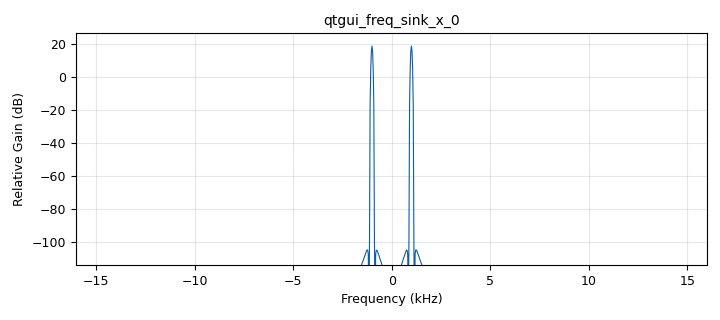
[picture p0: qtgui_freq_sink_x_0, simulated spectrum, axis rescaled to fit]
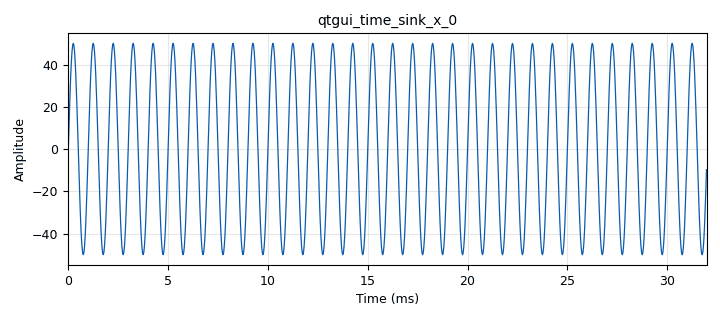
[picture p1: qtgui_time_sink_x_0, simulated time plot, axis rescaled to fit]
options:
  parameters:
    author: labcom
    generate_options: qt_gui
    id: PO
    output_language: python
    title: Not titled yet
  states: {}

blocks:
- name: AMP
  id: variable_qtgui_range
  parameters:
    label: Amplitud
    start: '0'
    step: '1'
    stop: '100'
    value: '50'
  states: {}
- name: samp_rate
  id: variable
  parameters:
    value: '32000'
  states: {}
- name: CalculoPotenciaComunicaciones_0
  id: CalculoPotenciaComunicaciones
  parameters:
    I_vect: '1024'
  states: {}
- name: analog_sig_source_x_0
  id: analog_sig_source_x
  parameters:
    amp: AMP
    freq: '1000'
    offset: '0'
    phase: '0'
    samp_rate: samp_rate
    type: float
    waveform: analog.GR_SIN_WAVE
  states: {}
- name: blocks_throttle_0
  id: blocks_throttle
  parameters:
    samples_per_second: samp_rate
    type: float
  states: {}
- name: qtgui_freq_sink_x_0
  id: qtgui_freq_sink_x
  parameters:
    bw: samp_rate
    fc: '0'
    fftsize: '1024'
    type: float
  states: {}
- name: qtgui_time_sink_x_0
  id: qtgui_time_sink_x
  parameters:
    size: '1024'
    srate: samp_rate
    type: float
  states: {}

connections:
- [analog_sig_source_x_0, '0', blocks_throttle_0, '0']
- [blocks_throttle_0, '0', CalculoPotenciaComunicaciones_0, '0']
- [blocks_throttle_0, '0', qtgui_freq_sink_x_0, '0']
- [blocks_throttle_0, '0', qtgui_time_sink_x_0, '0']

metadata:
  file_format: 1
  grc_version: 3.10.5.1
